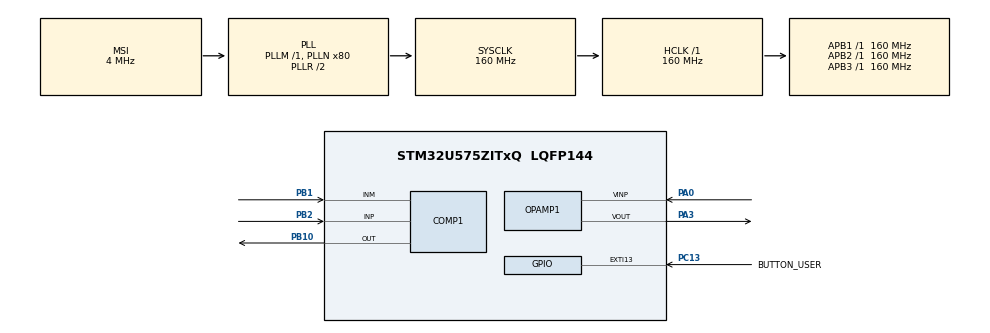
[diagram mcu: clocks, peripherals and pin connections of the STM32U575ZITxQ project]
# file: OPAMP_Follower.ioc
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CORTEX_M33_NS.userName=CORTEX_M33
DAC1.DAC_Channel-DAC_OUT1_Int=DAC_CHANNEL_1
Mcu.Family=STM32U5
Mcu.Name=STM32U575ZITxQ
Mcu.Package=LQFP144
NVIC.EXTI13_IRQn=true\:0\:0\:false\:false\:true\:true\:true\:true
NVIC.PriorityGroup=NVIC_PRIORITYGROUP_4
PA0.Mode=Follower
PA0.Signal=OPAMP1_VINP
PA3.Mode=Follower
PA3.Signal=OPAMP1_VOUT
PB1.Mode=INM
PB1.Signal=COMP1_INM
PB10.GPIO_PuPd=GPIO_NOPULL
PB10.Mode=ExternalOutput
PB10.Signal=COMP1_OUT
PB2.Mode=INP
PB2.Signal=COMP1_INP
PC13.GPIO_Label=BUTTON_USER
PC13.Signal=GPXTI13
PWR.PowerMode=PWR_SMPS_SUPPLY
ProjectManager.HeapSize=0x200
ProjectManager.StackSize=0x400
ProjectManager.TargetToolchain=EWARM V8.32
RCC.ADCFreq_Value=16000000
RCC.AHBFreq_Value=160000000
RCC.APB1Freq_Value=160000000
RCC.APB1TimFreq_Value=160000000
RCC.APB2Freq_Value=160000000
RCC.APB2TimFreq_Value=160000000
RCC.APB3Freq_Value=160000000
RCC.CortexFreq_Value=160000000
RCC.DACCLockSelectionVirtual=RCC_DAC1CLKSOURCE_LSI
RCC.DACCLockSelectionVirtualString=RCC_DAC1CLKSOURCE_LSI
RCC.EPOD_VALUE=4000000
RCC.HCLKFreq_Value=160000000
RCC.HSE_VALUE=16000000
RCC.HSI48_VALUE=48000000
RCC.HSI_VALUE=16000000
RCC.LSE_VALUE=32768
RCC.LSIDIV_VALUE=32000
RCC.MSI_VALUE=4000000
RCC.PLLN=80
RCC.SYSCLKFreq_VALUE=160000000
RCC.SYSCLKSource=RCC_SYSCLKSOURCE_PLLCLK
RCC.USBFreq_Value=48000000
RCC.VCOOutputFreq_Value=320000000
VP_DAC1_VS_DACI1.Mode=DAC_OUT1_Int
VP_ICACHE_VS_ICACHE.Mode=DirectMappedCache
VP_LPBAMQUEUE_VS_QUEUE.Mode=QUEUEMODE
VP_LPBAM_VS_SIG1.Mode=SmartRun
VP_LPBAM_VS_SIG4.Mode=LPDMA1
VP_PWR_VS_DBSignals.Mode=DisableDeadBatterySignals
VP_PWR_VS_LPOM.Mode=PowerOptimisation
VP_PWR_VS_SECSignals.Mode=Security/Privilege
board=custom

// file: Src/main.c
/* USER CODE BEGIN Header */
/**
  ******************************************************************************
  * @file           : main.c
  * @brief          : Main program body
  ******************************************************************************
  * @attention
  *
  * Copyright (c) 2021 STMicroelectronics.
  * All rights reserved.
  *
  * This software is licensed under terms that can be found in the LICENSE file
  * in the root directory of this software component.
  * If no LICENSE file comes with this software, it is provided AS-IS.
  *
  ******************************************************************************
  */
/* USER CODE END Header */
#include "main.h"

COMP_HandleTypeDef hcomp1;

DAC_HandleTypeDef hdac1;

OPAMP_HandleTypeDef hopamp1;

void SystemClock_Config(void);
static void SystemPower_Config(void);
static void MX_GPIO_Init(void);
static void MX_ICACHE_Init(void);
static void MX_DAC1_Init(void);
static void MX_COMP1_Init(void);
static void MX_OPAMP1_Init(void);
/* USER CODE BEGIN PFP */
void OPAMP_Config_Power(uint32_t powermode);
__IO uint32_t UserButtonStatus = 0;
/* USER CODE END PFP */

int main(void)
{

  /* USER CODE BEGIN 1 */
  /* STM32U5xx HAL library initialization:
       - Configure the Flash prefetch
       - Configure the Systick to generate an interrupt each 1 msec
       - Set NVIC Group Priority to 3
       - Low Level Initialization
     */
  /* USER CODE END 1 */

  /* MCU Configuration--------------------------------------------------------*/

  /* Reset of all peripherals, Initializes the Flash interface and the Systick. */
  HAL_Init();

  /* USER CODE BEGIN Init */
  uint32_t examplestate = 0;
  /* USER CODE END Init */

  /* Configure the System Power */
  SystemPower_Config();

  /* Configure the system clock */
  SystemClock_Config();

  /* Initialize all configured peripherals */
  MX_GPIO_Init();
  MX_ICACHE_Init();
  MX_DAC1_Init();
  MX_COMP1_Init();
  MX_OPAMP1_Init();
  /* USER CODE BEGIN 2 */
/* Initialize LEDs on board */
  BSP_LED_Init(LED1);
  BSP_LED_Init(LED2);
  BSP_LED_Init(LED3);
  /* USER CODE END 2 */

  /* Infinite loop */
  /* USER CODE BEGIN WHILE */
  while (1)
  {
    /* Test if an action occurred on the User button */
    if (UserButtonStatus == 1)
    {
      UserButtonStatus = 0;
      /* Change the mode */
      if (examplestate == 0)
      {
        /* Turn LED1 on */
        BSP_LED_On(LED1);
        /* Turn LED2 off */
        BSP_LED_Off(LED2);
        /* normal mode */
        OPAMP_Config_Power(OPAMP_POWERMODE_NORMALPOWER_NORMALSPEED);
        examplestate= 1;
      }
      else
      {
        /* Turn LED2 on */
        BSP_LED_On(LED2);
        /* Turn LED1 off */
        BSP_LED_Off(LED1);
        /* Low power mode */
        OPAMP_Config_Power(OPAMP_POWERMODE_LOWPOWER_NORMALSPEED);
        examplestate= 0;
      }
    }
    /* USER CODE END WHILE */

  }
}

void SystemClock_Config(void)
{
  RCC_OscInitTypeDef RCC_OscInitStruct = {0};
  RCC_ClkInitTypeDef RCC_ClkInitStruct = {0};

  /** Configure the main internal regulator output voltage
  */
  if (HAL_PWREx_ControlVoltageScaling(PWR_REGULATOR_VOLTAGE_SCALE1) != HAL_OK)
  {
    Error_Handler();
  }

  /** Initializes the CPU, AHB and APB buses clocks
  */
  RCC_OscInitStruct.OscillatorType = RCC_OSCILLATORTYPE_HSI|RCC_OSCILLATORTYPE_LSI
                              |RCC_OSCILLATORTYPE_MSI;
  RCC_OscInitStruct.HSIState = RCC_HSI_ON;
  RCC_OscInitStruct.HSICalibrationValue = RCC_HSICALIBRATION_DEFAULT;
  RCC_OscInitStruct.LSIState = RCC_LSI_ON;
  RCC_OscInitStruct.MSIState = RCC_MSI_ON;
  RCC_OscInitStruct.MSICalibrationValue = RCC_MSICALIBRATION_DEFAULT;
  RCC_OscInitStruct.MSIClockRange = RCC_MSIRANGE_4;
  RCC_OscInitStruct.LSIDiv = RCC_LSI_DIV1;
  RCC_OscInitStruct.PLL.PLLState = RCC_PLL_ON;
  RCC_OscInitStruct.PLL.PLLSource = RCC_PLLSOURCE_MSI;
  RCC_OscInitStruct.PLL.PLLMBOOST = RCC_PLLMBOOST_DIV1;
  RCC_OscInitStruct.PLL.PLLM = 1;
  RCC_OscInitStruct.PLL.PLLN = 80;
  RCC_OscInitStruct.PLL.PLLP = 2;
  RCC_OscInitStruct.PLL.PLLQ = 2;
  RCC_OscInitStruct.PLL.PLLR = 2;
  RCC_OscInitStruct.PLL.PLLRGE = RCC_PLLVCIRANGE_0;
  RCC_OscInitStruct.PLL.PLLFRACN = 0;
  if (HAL_RCC_OscConfig(&RCC_OscInitStruct) != HAL_OK)
  {
    Error_Handler();
  }

  /** Initializes the CPU, AHB and APB buses clocks
  */
  RCC_ClkInitStruct.ClockType = RCC_CLOCKTYPE_HCLK|RCC_CLOCKTYPE_SYSCLK
                              |RCC_CLOCKTYPE_PCLK1|RCC_CLOCKTYPE_PCLK2
                              |RCC_CLOCKTYPE_PCLK3;
  RCC_ClkInitStruct.SYSCLKSource = RCC_SYSCLKSOURCE_PLLCLK;
  RCC_ClkInitStruct.AHBCLKDivider = RCC_SYSCLK_DIV1;
  RCC_ClkInitStruct.APB1CLKDivider = RCC_HCLK_DIV1;
  RCC_ClkInitStruct.APB2CLKDivider = RCC_HCLK_DIV1;
  RCC_ClkInitStruct.APB3CLKDivider = RCC_HCLK_DIV1;

  if (HAL_RCC_ClockConfig(&RCC_ClkInitStruct, FLASH_LATENCY_4) != HAL_OK)
  {
    Error_Handler();
  }
}

/**
  * @brief Power Configuration
  * @retval None
  */
static void SystemPower_Config(void)
{

  /*
   * Disable the internal Pull-Up in Dead Battery pins of UCPD peripheral
   */
  HAL_PWREx_DisableUCPDDeadBattery();

  /*
   * Switch to SMPS regulator instead of LDO
   */
  if (HAL_PWREx_ConfigSupply(PWR_SMPS_SUPPLY) != HAL_OK)
  {
    Error_Handler();
  }
}

static void MX_COMP1_Init(void)
{

  hcomp1.Instance = COMP1;
  hcomp1.Init.InputPlus = COMP_INPUT_PLUS_IO2;
  hcomp1.Init.InputMinus = COMP_INPUT_MINUS_IO1;
  hcomp1.Init.OutputPol = COMP_OUTPUTPOL_NONINVERTED;
  hcomp1.Init.WindowOutput = COMP_WINDOWOUTPUT_EACH_COMP;
  hcomp1.Init.Hysteresis = COMP_HYSTERESIS_NONE;
  hcomp1.Init.BlankingSrce = COMP_BLANKINGSRC_NONE;
  hcomp1.Init.Mode = COMP_POWERMODE_HIGHSPEED;
  hcomp1.Init.WindowMode = COMP_WINDOWMODE_DISABLE;
  hcomp1.Init.TriggerMode = COMP_TRIGGERMODE_NONE;
  if (HAL_COMP_Init(&hcomp1) != HAL_OK)
  {
    Error_Handler();
  }
  /* USER CODE BEGIN COMP1_Init 2 */
  if (HAL_COMP_Start(&hcomp1) != HAL_OK)
  {
    /* Initialization Error */
    Error_Handler();
  }

  /* USER CODE END COMP1_Init 2 */

}

static void MX_DAC1_Init(void)
{

  DAC_ChannelConfTypeDef sConfig = {0};
  DAC_AutonomousModeConfTypeDef sAutonomousMode = {0};

  /** DAC Initialization
  */
  hdac1.Instance = DAC1;
  if (HAL_DAC_Init(&hdac1) != HAL_OK)
  {
    Error_Handler();
  }

  /** DAC channel OUT1 config
  */
  sConfig.DAC_HighFrequency = DAC_HIGH_FREQUENCY_INTERFACE_MODE_DISABLE;
  sConfig.DAC_DMADoubleDataMode = DISABLE;
  sConfig.DAC_SignedFormat = DISABLE;
  sConfig.DAC_SampleAndHold = DAC_SAMPLEANDHOLD_DISABLE;
  sConfig.DAC_Trigger = DAC_TRIGGER_NONE;
  sConfig.DAC_OutputBuffer = DAC_OUTPUTBUFFER_DISABLE;
  sConfig.DAC_ConnectOnChipPeripheral = DAC_CHIPCONNECT_INTERNAL;
  sConfig.DAC_UserTrimming = DAC_TRIMMING_FACTORY;
  if (HAL_DAC_ConfigChannel(&hdac1, &sConfig, DAC_CHANNEL_1) != HAL_OK)
  {
    Error_Handler();
  }

  /** Configure Autonomous Mode
  */
  sAutonomousMode.AutonomousModeState = DAC_AUTONOMOUS_MODE_DISABLE;
  if (HAL_DACEx_SetConfigAutonomousMode(&hdac1, &sAutonomousMode) != HAL_OK)
  {
    Error_Handler();
  }
  /* USER CODE BEGIN DAC1_Init 2 */
  /* Set DAC output voltage */
  HAL_DAC_SetValue(&hdac1, DAC_CHANNEL_1, DAC_ALIGN_8B_R,0x7F);

  /*##-3- Enable DAC Channel 1 ##########################################*/
  if(HAL_DAC_Start(&hdac1, DAC_CHANNEL_1) != HAL_OK)
  {
    Error_Handler();
  }
  /* USER CODE END DAC1_Init 2 */

}

static void MX_ICACHE_Init(void)
{

  /** Enable instruction cache in 1-way (direct mapped cache)
  */
  if (HAL_ICACHE_ConfigAssociativityMode(ICACHE_1WAY) != HAL_OK)
  {
    Error_Handler();
  }
  if (HAL_ICACHE_Enable() != HAL_OK)
  {
    Error_Handler();
  }

}

static void MX_OPAMP1_Init(void)
{

  hopamp1.Instance = OPAMP1;
  hopamp1.Init.PowerSupplyRange = OPAMP_POWERSUPPLY_HIGH;
  hopamp1.Init.Mode = OPAMP_FOLLOWER_MODE;
  hopamp1.Init.NonInvertingInput = OPAMP_NONINVERTINGINPUT_IO0;
  hopamp1.Init.PowerMode = OPAMP_POWERMODE_NORMALPOWER_NORMALSPEED;
  hopamp1.Init.UserTrimming = OPAMP_TRIMMING_FACTORY;
  hopamp1.Init.TrimmingValueP = 16;
  hopamp1.Init.TrimmingValueN = 16;
  hopamp1.Init.TrimmingValuePLowPower = 16;
  hopamp1.Init.TrimmingValueNLowPower = 16;
  if (HAL_OPAMP_Init(&hopamp1) != HAL_OK)
  {
    Error_Handler();
  }

}

static void MX_GPIO_Init(void)
{
  GPIO_InitTypeDef GPIO_InitStruct = {0};

  /* GPIO Ports Clock Enable */
  __HAL_RCC_GPIOC_CLK_ENABLE();
  __HAL_RCC_GPIOA_CLK_ENABLE();
  __HAL_RCC_GPIOB_CLK_ENABLE();

  /*Configure GPIO pin : BUTTON_USER_Pin */
  GPIO_InitStruct.Pin = BUTTON_USER_Pin;
  GPIO_InitStruct.Mode = GPIO_MODE_IT_RISING;
  GPIO_InitStruct.Pull = GPIO_NOPULL;
  HAL_GPIO_Init(BUTTON_USER_GPIO_Port, &GPIO_InitStruct);

  /* EXTI interrupt init*/
  HAL_NVIC_SetPriority(EXTI13_IRQn, 0, 0);
  HAL_NVIC_EnableIRQ(EXTI13_IRQn);

}

/* USER CODE BEGIN 4 */
/**
  * @brief  OPAMP Configuration
  * @param  None
  * @retval None
  */
void OPAMP_Config_Power(uint32_t powermode)
{
  /* Set OPAMP instance */
  hopamp1.Instance = OPAMP1;

  /*##-1- Deinit  OPAMP    ##################################################*/
  HAL_OPAMP_DeInit(&hopamp1);

  /*##-2- Configure OPAMP    ##################################################*/

    /* Select power mode */
  if (powermode == OPAMP_POWERMODE_NORMALPOWER_NORMALSPEED)
  {
    hopamp1.Init.PowerMode = OPAMP_POWERMODE_NORMALPOWER_NORMALSPEED;
  }
  else
  {
    hopamp1.Init.PowerMode = OPAMP_POWERMODE_LOWPOWER_NORMALSPEED;
  }

  /* Select FOLLOWER Mode */
  hopamp1.Init.Mode = OPAMP_FOLLOWER_MODE;

  /* Select VPx as input for OPAMP */
  hopamp1.Init.NonInvertingInput = OPAMP_NONINVERTINGINPUT_DAC_CH;

  /* Select the factory trimming */
  hopamp1.Init.UserTrimming = OPAMP_TRIMMING_FACTORY;

  /* Init */
  if(HAL_OK != HAL_OPAMP_Init(&hopamp1))
  {
    Error_Handler();
  }

  /*##-3- Start OPAMP    #####################################################*/
  /* Enable OPAMP */
  if(HAL_OK != HAL_OPAMP_Start(&hopamp1))
  {
    Error_Handler();
  }
}
 void HAL_GPIO_EXTI_Rising_Callback(uint16_t GPIO_Pin)
{
  /* Prevent unused argument(s) compilation warning */
UserButtonStatus = 1;

  /* NOTE: This function should not be modified, when the callback is needed,
           the HAL_GPIO_EXTI_Rising_Callback could be implemented in the user file
   */
}
/* USER CODE END 4 */

void Error_Handler(void)
{
  /* USER CODE BEGIN Error_Handler_Debug */
  /* Turn LED3 On */
  BSP_LED_On(LED3);
  __disable_irq();
  while (1)
  {
  }
  /* USER CODE END Error_Handler_Debug */
}
